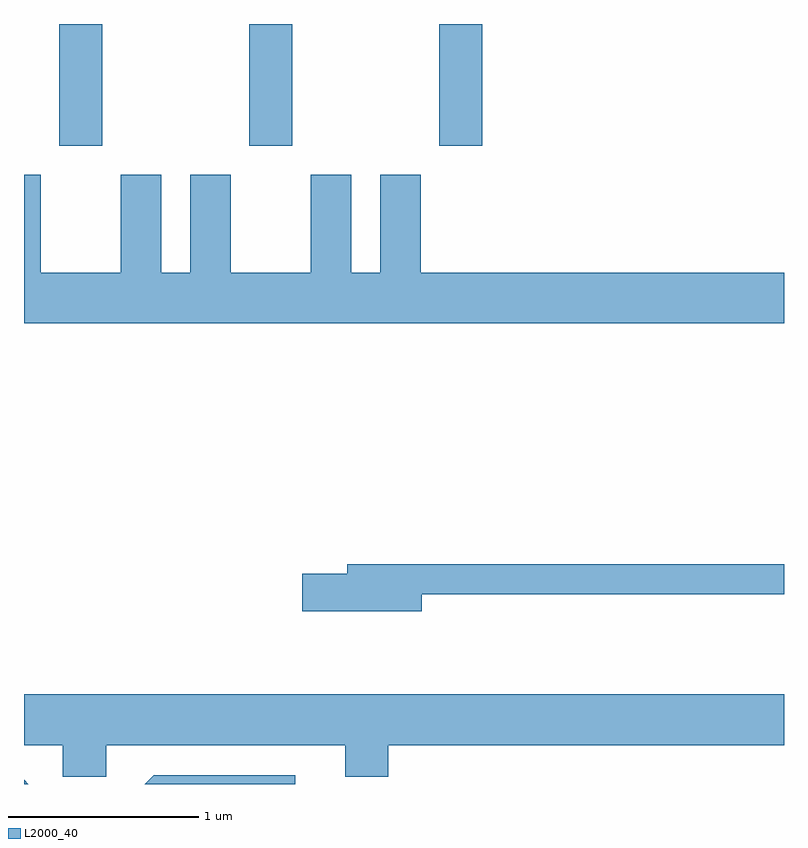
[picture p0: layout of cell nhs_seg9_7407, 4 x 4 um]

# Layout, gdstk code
import gdstk
lib = gdstk.Library(unit=1e-6, precision=1e-09)
def R(c, l, rs):  # rectangles x0, y0, x1, y1
    for r in rs: c.add(gdstk.rectangle(r[:2], r[2:], *l))
def A(c, l, x, y, w, h, nx, ny, dx, dy):  # array of equal rectangles
    R(c, l, [(x+i*dx, y+j*dy, x+i*dx+w, y+j*dy+h) for i in range(nx) for j in range(ny)])
def P(c, l, *ps):  # polygons
    for p in ps: c.add(gdstk.Polygon(p, *l))
L2000_40 = (2000, 40)

nhs_seg9_7407 = lib.new_cell('nhs_seg9_7407')
A(nhs_seg9_7407, L2000_40, 403.796, 2063.791, 0.228, 0.641, 3, 1, 1, 0)
P(nhs_seg9_7407, L2000_40, [(407.611,2063.124),(405.699,2063.124),(405.699,2063.639),(405.486,2063.639),(405.486,2063.124),(405.334,2063.124),(405.334,2063.639),(405.121,2063.639),(405.121,2063.124),(404.699,2063.124),(404.699,2063.639),(404.486,2063.639),(404.486,2063.124),(404.334,2063.124),(404.334,2063.639),(404.121,2063.639),(404.121,2063.124),(403.699,2063.124),(403.699,2063.639),(403.611,2063.639),(403.611,2062.856),(407.611,2062.856)],
  [(405.704,2061.431),(407.611,2061.431),(407.611,2061.589),(405.311,2061.589),(405.311,2061.539),(405.076,2061.539),(405.076,2061.341),(405.704,2061.341)],
  [(404.044,2060.636),(405.301,2060.636),(405.301,2060.471),(405.529,2060.471),(405.529,2060.636),(407.611,2060.636),(407.611,2060.904),(403.611,2060.904),(403.611,2060.636),(403.816,2060.636),(403.816,2060.471),(404.044,2060.471)],
  [(405.039,2060.479),(404.294,2060.479),(404.247,2060.432),(405.039,2060.432)],
  [(403.611,2060.455),(403.611,2060.432),(403.634,2060.432)])

lib.write_gds('nhs_seg9_7407.gds')
